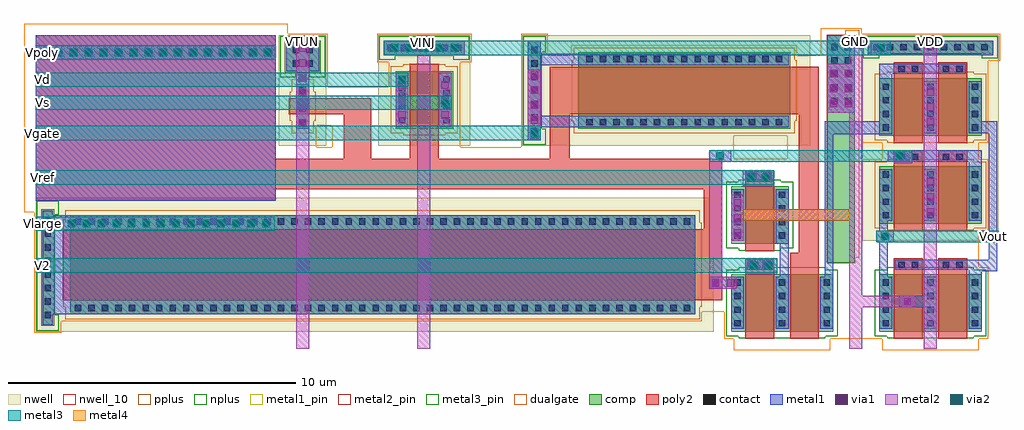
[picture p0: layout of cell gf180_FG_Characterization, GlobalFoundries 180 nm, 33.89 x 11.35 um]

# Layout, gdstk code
import gdstk
lib = gdstk.Library(unit=1e-6, precision=1e-09)
def R(c, l, rs):  # rectangles x0, y0, x1, y1
    for r in rs: c.add(gdstk.rectangle(r[:2], r[2:], *l))
def A(c, l, x, y, w, h, nx, ny, dx, dy):  # array of equal rectangles
    R(c, l, [(x+i*dx, y+j*dy, x+i*dx+w, y+j*dy+h) for i in range(nx) for j in range(ny)])
nwell = (21, 0)
nwell_10 = (21, 10)
comp = (22, 0)
poly2 = (30, 0)
pplus = (31, 0)
nplus = (32, 0)
contact = (33, 0)
metal1 = (34, 0)
metal1_pin = (34, 10)
via1 = (35, 0)
metal2 = (36, 0)
metal2_pin = (36, 10)
via2 = (38, 0)
metal3 = (42, 0)
metal3_pin = (42, 10)
metal4 = (46, 0)
dualgate = (55, 0)

gf180_fg_characterizatio = lib.new_cell('gf180_FG_Characterization')
R(gf180_fg_characterizatio, nwell, [(-30.1,-6.35,-6.55,-1.7), (-1.4,-3.2,3.35,3.95), (-21.65,0.1,-20,3.95), (-18.2,0.1,-15,3.95), (-13.2,0.1,-3.2,3.95)])
R(gf180_fg_characterizatio, nwell_10, [(-16.85,3.45,-16.4,3.95), (-21.05,3.5,-20.6,3.95)])
R(gf180_fg_characterizatio, comp, [(-5.95,-6.35,-2.4,-4.35), (-0.8,-6.35,2.75,-4.35), (-29.9,-6.15,-29.45,-2.1), (-28.9,-5.75,-7.2,-2.3), (-2.6,-3.95,-1.65,3.95), (-5.95,-3.3,-3.95,-1.3), (-0.8,-2.6,2.75,-0.6), (-13,0.3,-12.55,3.75), (-0.8,0.45,2.75,2.45), (-21.05,0.7,-20.6,2.25), (-17.6,0.7,-15.6,2.7), (-11.25,0.7,-3.9,3.35), (-21.45,2.65,-20.2,3.75), (-18,3.25,-15.2,3.75), (-1.2,3.3,3.15,3.75)])
R(gf180_fg_characterizatio, poly2, [(-5.45,-6.6,-4.45,-3.8), (-3.9,-6.6,-2.9,-3.6), (-0.3,-6.6,0.7,-3.8), (1.25,-6.6,2.25,-3.8), (-29.15,-5.25,-6.25,-2.8), (-3.6,-3.6,-2.9,1.2), (-5.45,-3.55,-4.45,-0.75), (-0.3,-2.85,0.7,-0.05), (1.25,-2.85,2.25,-0.05), (-6.9,-2.8,-6.25,-1.4), (-30.1,-1.8,-21.75,-1.4), (-30.1,-1.4,-6.25,-0.35), (-30.1,-0.35,-21.75,3.95), (-19.4,-0.35,-18.45,1.2), (-17.1,-0.35,-16.1,2.95), (-12.25,-0.35,-11.55,1.2), (-0.3,0.2,0.7,3), (1.25,0.2,2.25,3), (-21.3,1.2,-18.45,1.75), (-12.25,1.2,-2.9,2.85)])
R(gf180_fg_characterizatio, pplus, [(-29.06,-5.91,-7.04,-5.48), (-29.13,-5.48,-6.97,-2.57), (-2.62,-3.97,-1.63,-3.79), (-2.62,-3.79,-1.49,3.97), (-0.53,-2.83,2.48,-2.76), (-0.96,-2.76,2.91,-0.44), (-29.06,-2.57,-7.04,-2.14), (-0.53,-0.44,2.48,-0.37), (-0.53,0.22,2.48,0.29), (-0.96,0.29,2.91,2.61), (-17.33,0.47,-15.87,0.54), (-21.21,0.54,-20.44,0.97), (-17.76,0.54,-15.44,2.86), (-11.41,0.54,-3.74,0.97), (-21.28,0.97,-20.37,1.98), (-11.48,0.97,-3.67,3.08), (-21.21,1.98,-20.44,2.41), (-0.53,2.61,2.48,2.68), (-17.33,2.86,-15.87,2.93), (-11.41,3.08,-3.74,3.51), (-1.99,3.97,-1.49,4.11)])
R(gf180_fg_characterizatio, nplus, [(-5.68,-6.58,-2.67,-6.51), (-0.53,-6.58,2.48,-6.51), (-6.11,-6.51,-2.24,-4.19), (-0.96,-6.51,2.91,-4.19), (-30.06,-6.31,-29.29,-5.76), (-30.06,-5.76,-29.43,-2.29), (-5.68,-4.19,-2.67,-4.12), (-0.53,-4.19,2.48,-4.12), (-5.68,-3.53,-4.22,-3.46), (-6.11,-3.46,-3.79,-1.14), (-30.06,-2.29,-29.29,-1.94), (-30.06,-1.94,-29.29,-1.8), (-5.68,-1.14,-4.22,-1.07), (-13.16,0.14,-12.39,0.69), (-13.16,0.69,-12.53,3.36), (-21.61,2.49,-21.06,2.63), (-20.59,2.49,-20.04,2.63), (-21.61,2.63,-20.04,3.91), (-18.16,3.09,-17.61,3.23), (-15.59,3.09,-15.04,3.23), (-1.36,3.14,-0.81,3.28), (2.76,3.14,3.31,3.28), (-18.16,3.23,-15.04,3.91), (-1.36,3.28,3.31,3.91), (-13.16,3.36,-12.39,3.91)])
A(gf180_fg_characterizatio, contact, -5.835, -6.165, 0.22, 0.22, 3, 4, 1.55, 0.47)
A(gf180_fg_characterizatio, contact, -0.685, -6.165, 0.22, 0.22, 3, 4, 1.55, 0.47)
A(gf180_fg_characterizatio, contact, -29.785, -5.88, 0.22, 0.22, 1, 8, 0, 0.47)
A(gf180_fg_characterizatio, contact, -28.735, -5.635, 0.22, 0.22, 46, 2, 0.47, 3)
A(gf180_fg_characterizatio, contact, -5.835, -3.115, 0.22, 0.22, 1, 4, 0, 0.47)
A(gf180_fg_characterizatio, contact, -4.285, -3.115, 0.22, 0.22, 1, 4, 0, 0.47)
A(gf180_fg_characterizatio, contact, -0.685, -2.415, 0.22, 0.22, 3, 4, 1.55, 0.47)
A(gf180_fg_characterizatio, contact, -12.885, 0.505, 0.22, 0.22, 1, 7, 0, 0.47)
A(gf180_fg_characterizatio, contact, -0.685, 0.635, 0.22, 0.22, 3, 4, 1.55, 0.47)
A(gf180_fg_characterizatio, contact, -10.975, 0.815, 0.22, 0.22, 15, 2, 0.47, 2.2)
A(gf180_fg_characterizatio, contact, -17.485, 0.885, 0.22, 0.22, 1, 4, 0, 0.47)
A(gf180_fg_characterizatio, contact, -15.935, 0.885, 0.22, 0.22, 1, 4, 0, 0.47)
A(gf180_fg_characterizatio, contact, -2.47, 1.55, 0.22, 0.22, 1, 5, 0, 0.47)
A(gf180_fg_characterizatio, contact, -2, 1.55, 0.22, 0.22, 1, 5, 0, 0.47)
A(gf180_fg_characterizatio, contact, -17.885, 3.39, 0.22, 0.22, 6, 1, 0.47, 0)
A(gf180_fg_characterizatio, contact, -1.015, 3.415, 0.22, 0.22, 9, 1, 0.47, 0)
R(gf180_fg_characterizatio, contact, [(-5.295,-4.135,-5.075,-3.915), (-4.825,-4.135,-4.605,-3.915), (-0.145,-4.135,0.075,-3.915), (0.325,-4.135,0.545,-3.915), (1.405,-4.135,1.625,-3.915), (1.875,-4.135,2.095,-3.915), (-5.295,-1.085,-5.075,-0.865), (-4.825,-1.085,-4.605,-0.865), (-0.145,-0.385,0.075,-0.165), (0.325,-0.385,0.545,-0.165), (1.405,-0.385,1.625,-0.165), (1.875,-0.385,2.095,-0.165), (-20.935,0.815,-20.715,1.035), (-20.935,1.915,-20.715,2.135), (-0.145,2.665,0.075,2.885), (0.325,2.665,0.545,2.885), (1.405,2.665,1.625,2.885), (1.875,2.665,2.095,2.885), (-21.17,2.855,-20.95,3.075), (-20.7,2.855,-20.48,3.075), (-21.17,3.325,-20.95,3.545), (-20.7,3.325,-20.48,3.545)])
R(gf180_fg_characterizatio, metal1, [(-5.95,-6.25,-5.5,-4.85), (-4.4,-6.25,-3.95,-4.45), (-2.85,-6.25,-2.4,-4.45), (-0.8,-6.25,-0.35,-4.45), (0.75,-6.25,1.2,-5.5), (2.3,-6.25,2.75,-4.25), (-29.85,-6.1,-29.5,-5.75), (-29.85,-5.75,-7.2,-2.3), (-0.1,-5.5,1.2,-5.1), (0.75,-5.1,1.2,-4.45), (-6.7,-4.85,-5.5,-4.45), (-4.25,-4.45,-3.95,-3.3), (-2.7,-4.45,-2.4,0.5), (-0.8,-4.45,-0.5,-3.25), (2.3,-4.25,3.3,-4.2), (-5.45,-4.2,-4.5,-3.8), (-0.25,-4.2,3.3,-3.85), (3,-3.85,3.3,0.55), (-4.4,-3.3,-3.95,-1.4), (-0.9,-3.25,-0.3,-2.85), (-5.95,-3.2,-5.5,-1.4), (-0.8,-2.85,-0.5,-2.5), (-0.8,-2.5,-0.35,-0.7), (0.75,-2.5,1.2,-0.7), (2.3,-2.5,2.75,-0.45), (-29.85,-2.3,-29.5,-2.15), (-30.1,-1.8,-21.75,3.95), (-5.45,-1.15,-4.45,-0.75), (-0.5,-0.45,2.75,-0.05), (-13,0.3,-12.55,0.75), (-2.7,0.5,-0.35,0.95), (0.75,0.55,1.2,2.35), (2.3,0.55,3.3,0.95), (-21.05,0.7,-20.6,2.7), (-17.6,0.75,-17.15,2.65), (-16.1,0.75,-15.65,2.65), (-13,0.75,-3.95,1.15), (-0.8,0.95,-0.35,2.6), (2.3,0.95,2.75,2.35), (-13,1.15,-12.55,2.9), (-2.6,1.25,-1.65,3.95), (-0.8,2.6,2.2,2.95), (-21.4,2.7,-20.25,3.7), (-13,2.9,-3.95,3.3), (-18,3.25,-15.2,3.75), (-1.2,3.25,3.15,3.75), (-13,3.3,-12.55,3.75)])
R(gf180_fg_characterizatio, metal1_pin, [(-30.1,3.1,-29.6,3.6)])
A(gf180_fg_characterizatio, via1, -5.855, -3.05, 0.26, 0.26, 1, 3, 0, 0.52)
A(gf180_fg_characterizatio, via1, -28.985, -2.73, 0.26, 0.26, 14, 1, 0.52, 0)
A(gf180_fg_characterizatio, via1, 0.845, -2.325, 0.26, 0.26, 1, 3, 0, 0.52)
A(gf180_fg_characterizatio, via1, -12.905, 0.355, 0.26, 0.26, 1, 5, 0, 0.52)
A(gf180_fg_characterizatio, via1, -20.955, 0.77, 0.26, 0.26, 1, 6, 0, 0.52)
A(gf180_fg_characterizatio, via1, 0.845, 0.8, 0.26, 0.26, 1, 3, 0, 0.52)
A(gf180_fg_characterizatio, via1, -17.505, 1.05, 0.26, 0.26, 1, 3, 0, 0.52)
A(gf180_fg_characterizatio, via1, -16.005, 1.05, 0.26, 0.26, 1, 3, 0, 0.52)
A(gf180_fg_characterizatio, via1, -2.515, 1.45, 0.26, 0.26, 1, 3, 0, 0.52)
A(gf180_fg_characterizatio, via1, -1.995, 1.45, 0.26, 0.26, 1, 3, 0, 0.52)
A(gf180_fg_characterizatio, via1, -29.955, 3.22, 0.26, 0.26, 16, 1, 0.52, 0)
A(gf180_fg_characterizatio, via1, -17.77, 3.37, 0.26, 0.26, 5, 1, 0.52, 0)
R(gf180_fg_characterizatio, via1, [(0.045,-5.43,0.305,-5.17), (-6.615,-4.78,-6.355,-4.52), (-6.095,-4.78,-5.835,-4.52), (-5.365,-4.13,-5.105,-3.87), (-4.845,-4.13,-4.585,-3.87), (-0.73,-3.18,-0.47,-2.92), (-5.34,-1.08,-5.08,-0.82), (-4.82,-1.08,-4.56,-0.82), (-0.205,-0.38,0.055,-0.12), (-0.88,3.37,-0.62,3.63)])
R(gf180_fg_characterizatio, metal2, [(-21.05,-6.95,-20.6,3.95), (-16.85,-6.95,-16.4,3.25), (-1.85,-6.95,-1.4,-5.5), (0.75,-6.95,1.2,3.95), (-1.85,-5.5,0.45,-5.1), (-1.85,-5.1,-1.4,-2.5), (-6.7,-4.85,-5.75,-4.45), (-6.7,-4.45,-6.25,-0.45), (-5.45,-4.35,-4.35,-3.8), (-0.9,-3.25,-0.3,-2.85), (-5.95,-3.2,-5.5,-2.5), (-29.15,-2.85,-21.8,-2.35), (-5.95,-2.5,-1.4,-2.1), (-5.95,-2.1,-5.5,-1.6), (-1.85,-2.1,-1.4,1.25), (-5.55,-1.3,-4.45,-0.75), (-0.3,-0.5,0.35,-0.45), (-6.7,-0.45,-5.95,-0.05), (-0.5,-0.45,0.35,-0.05), (-13,0.3,-12.55,2.75), (-17.6,0.75,-17.15,2.65), (-16.1,0.75,-15.65,2.65), (-2.6,1.25,-1.4,2.95), (-1.85,2.95,-1.4,3.95), (-30.1,3.1,-21.75,3.6), (-18,3.25,-15.2,3.75), (-1.1,3.25,-0.4,3.75), (-16.85,3.75,-16.4,3.95)])
R(gf180_fg_characterizatio, metal2_pin, [(-1.85,3.5,-1.4,3.95), (0.75,3.5,1.2,3.95)])
A(gf180_fg_characterizatio, via2, -28.985, -2.73, 0.26, 0.26, 14, 1, 0.52, 0)
A(gf180_fg_characterizatio, via2, -29.955, 3.22, 0.26, 0.26, 16, 1, 0.52, 0)
A(gf180_fg_characterizatio, via2, -17.77, 3.37, 0.26, 0.26, 5, 1, 0.52, 0)
R(gf180_fg_characterizatio, via2, [(-5.29,-4.18,-5.03,-3.92), (-4.77,-4.18,-4.51,-3.92), (-0.73,-3.18,-0.47,-2.92), (-5.39,-1.13,-5.13,-0.87), (-4.87,-1.13,-4.61,-0.87), (-6.455,-0.38,-6.195,-0.12), (-0.205,-0.38,0.055,-0.12), (-12.905,0.42,-12.645,0.68), (-16.005,1.47,-15.745,1.73), (-17.505,2.27,-17.245,2.53), (-0.88,3.37,-0.62,3.63)])
R(gf180_fg_characterizatio, metal3, [(-30.1,-4.3,-4.35,-3.8), (-0.9,-3.25,3.35,-2.85), (-30.1,-2.85,-21.8,-2.35), (-30.1,-1.25,-4.45,-0.75), (-6.7,-0.45,0.35,-0.05), (-30.1,0.3,-12.55,0.8), (-30.1,1.35,-15.65,1.85), (-30.1,2.15,-17.15,2.65), (-30.1,3.1,-21.75,3.6), (-18,3.25,-0.4,3.75)])
R(gf180_fg_characterizatio, metal3_pin, [(-30.1,-4.3,-29.6,-3.8), (2.95,-3.25,3.35,-2.85), (-30.1,-2.85,-29.6,-2.35), (-30.1,-1.25,-29.6,-0.75), (-30.1,0.3,-29.6,0.8), (-30.1,1.35,-29.6,1.85), (-30.1,2.15,-29.6,2.65)])
R(gf180_fg_characterizatio, metal4, [(-5.55,-2.5,-1.85,-2.1)])
R(gf180_fg_characterizatio, dualgate, [(-5.85,-7,-2.5,-6.59), (-0.7,-7,2.65,-6.59), (-6.19,-6.59,-2.16,-5.65), (-2.16,-6.59,-1.04,-4.19), (-1.04,-6.59,2.99,-4.19), (-30.14,-6.39,-29.21,-5.99), (-30.14,-5.99,-6.96,-5.65), (-30.14,-5.65,-2.16,-4.19), (-30.14,-4.19,2.99,-4.11), (-30.14,-4.11,-1.41,-2.84), (-1.41,-4.11,-0.7,-2.84), (-0.7,-4.11,2.65,-2.84), (-30.14,-2.84,2.99,-2.2), (-30.5,-2.2,2.99,-0.36), (-30.5,-0.36,-1.41,-0.35), (-0.7,-0.36,2.65,0.21), (-30.5,-0.35,-5.85,0.05), (-4,-0.35,-1.41,0.21), (-30.5,0.05,-20.36,0.8), (-19.8,0.05,-15.36,0.8), (-13.24,0.05,-5.85,0.46), (-4,0.21,2.99,0.46), (-13.24,0.46,2.99,3.06), (-30.5,0.8,-15.36,2.15), (-30.5,2.15,-19.96,3.99), (-17.84,2.15,-15.36,3.01), (-18.24,3.01,-14.96,3.99), (-13.24,3.06,3.39,3.25), (-13.24,3.25,-12.31,3.99), (-11.49,3.25,-3.66,3.59), (-2.84,3.25,3.39,3.99), (-30.5,3.99,-21.35,4.35), (-2.84,3.99,-1.41,4.19)])
gf180_fg_characterizatio.add(gdstk.Label('VTUN', (-20.825,3.725), layer=21, texttype=10))
gf180_fg_characterizatio.add(gdstk.Label('VINJ', (-16.625,3.7), layer=21, texttype=10))
gf180_fg_characterizatio.add(gdstk.Label('Vd', (-29.85,2.4), layer=42, texttype=10))
gf180_fg_characterizatio.add(gdstk.Label('Vs', (-29.85,1.6), layer=42, texttype=10))
gf180_fg_characterizatio.add(gdstk.Label('Vgate', (-29.85,0.55), layer=42, texttype=10))
gf180_fg_characterizatio.add(gdstk.Label('Vref', (-29.85,-1), layer=42, texttype=10))
gf180_fg_characterizatio.add(gdstk.Label('Vlarge', (-29.85,-2.6), layer=42, texttype=10))
gf180_fg_characterizatio.add(gdstk.Label('V2', (-29.85,-4.05), layer=42, texttype=10))
gf180_fg_characterizatio.add(gdstk.Label('Vout', (3.15,-3.05), layer=42, texttype=10))
gf180_fg_characterizatio.add(gdstk.Label('VDD', (0.975,3.725), layer=36, texttype=10))
gf180_fg_characterizatio.add(gdstk.Label('GND', (-1.625,3.725), layer=36, texttype=10))
gf180_fg_characterizatio.add(gdstk.Label('Vpoly', (-29.85,3.35), layer=34, texttype=10))

lib.write_gds('gf180_FG_Characterization.gds')
